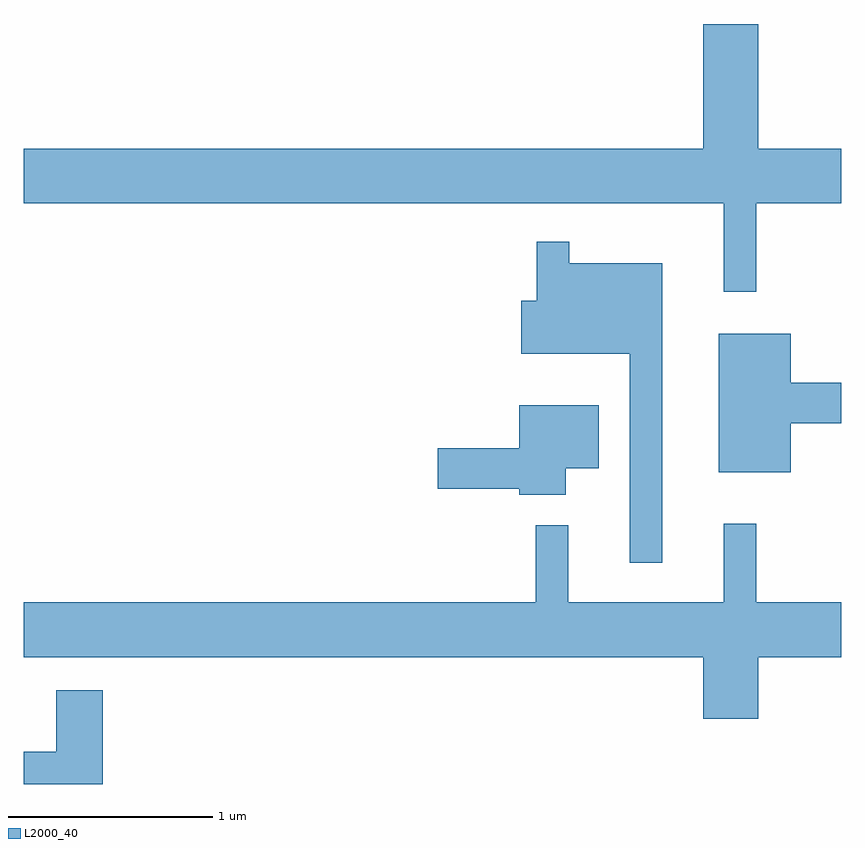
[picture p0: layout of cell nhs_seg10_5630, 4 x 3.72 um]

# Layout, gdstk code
import gdstk
lib = gdstk.Library(unit=1e-6, precision=1e-09)
def P(c, l, *ps):  # polygons
    for p in ps: c.add(gdstk.Polygon(p, *l))
L2000_40 = (2000, 40)

nhs_seg10_5630 = lib.new_cell('nhs_seg10_5630')
P(nhs_seg10_5630, L2000_40, [(355.194,2109.476),(355.611,2109.476),(355.611,2109.744),(355.204,2109.744),(355.204,2110.354),(354.936,2110.354),(354.936,2109.744),(351.611,2109.744),(351.611,2109.476),(355.036,2109.476),(355.036,2109.043),(355.194,2109.043)],
  [(354.734,2109.184),(354.279,2109.184),(354.279,2109.288),(354.121,2109.288),(354.121,2108.999),(354.046,2108.999),(354.046,2108.741),(354.576,2108.741),(354.576,2107.718),(354.734,2107.718)],
  [(355.364,2108.401),(355.611,2108.401),(355.611,2108.599),(355.364,2108.599),(355.364,2108.839),(355.011,2108.839),(355.011,2108.161),(355.364,2108.161)],
  [(354.264,2108.181),(354.424,2108.181),(354.424,2108.489),(354.036,2108.489),(354.036,2108.279),(353.636,2108.279),(353.636,2108.081),(354.036,2108.081),(354.036,2108.051),(354.264,2108.051)],
  [(355.204,2107.256),(355.611,2107.256),(355.611,2107.524),(355.194,2107.524),(355.194,2107.908),(355.036,2107.908),(355.036,2107.524),(354.274,2107.524),(354.274,2107.903),(354.116,2107.903),(354.116,2107.524),(351.611,2107.524),(351.611,2107.256),(354.936,2107.256),(354.936,2106.956),(355.204,2106.956)],
  [(351.999,2107.094),(351.771,2107.094),(351.771,2106.794),(351.611,2106.794),(351.611,2106.636),(351.999,2106.636)])

lib.write_gds('nhs_seg10_5630.gds')
